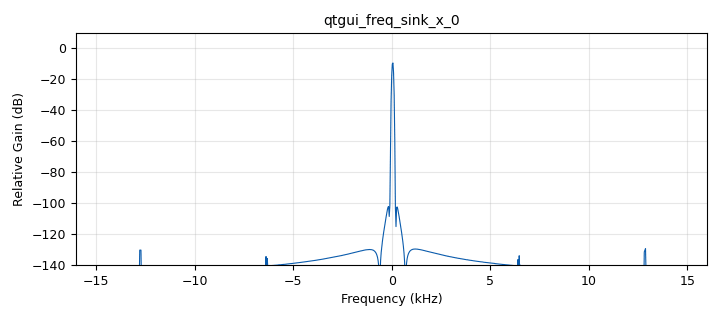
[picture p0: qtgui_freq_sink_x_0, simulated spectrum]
options:
  parameters:
    generate_options: qt_gui
    id: hadtest
    output_language: python
    title: Not titled yet
  states: {}

blocks:
- name: samp_rate
  id: variable
  parameters:
    value: '32000'
  states: {}
- name: uifreq
  id: variable_qtgui_range
  parameters:
    gui_hint: 0,1
    start: '0'
    step: '1'
    stop: '100'
    value: '50'
    widget: eng
  states: {}
- name: uisigtype
  id: variable_qtgui_chooser
  parameters:
    gui_hint: 0,0
    label0: Sine
    label1: Cosine
    num_opts: '2'
    option0: '101'
    option1: '102'
    type: int
    value: '101'
  states: {}
- name: analog_sig_source_x_0
  id: analog_sig_source_x
  parameters:
    amp: '1'
    freq: uifreq
    offset: '0'
    phase: '0'
    samp_rate: samp_rate
    type: complex
    waveform: uisigtype
  states: {}
- name: blocks_throttle2_0
  id: blocks_throttle2
  parameters:
    samples_per_second: samp_rate
    type: complex
  states: {}
- name: qtgui_freq_sink_x_0
  id: qtgui_freq_sink_x
  parameters:
    bw: samp_rate
    fc: '0'
    fftsize: '1024'
    gui_hint: 1,0,1,2
    type: complex
  states: {}

connections:
- [analog_sig_source_x_0, '0', blocks_throttle2_0, '0']
- [blocks_throttle2_0, '0', qtgui_freq_sink_x_0, '0']

metadata:
  file_format: 1
  grc_version: 3.10.9.2
